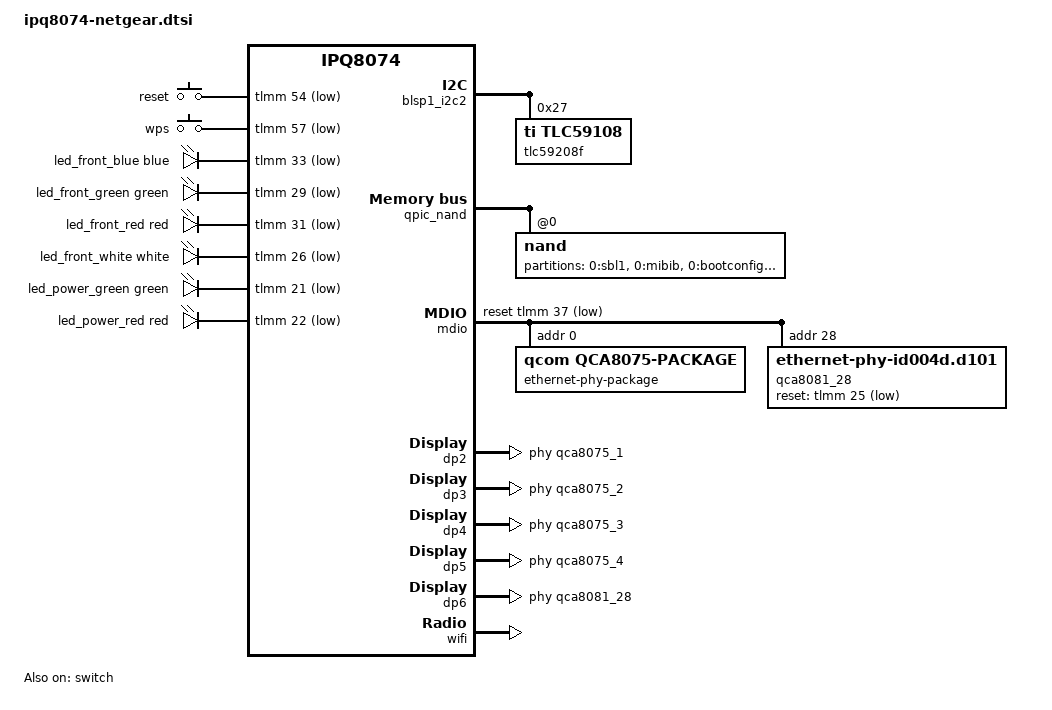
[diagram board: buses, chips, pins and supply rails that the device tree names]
// SPDX-License-Identifier: GPL-2.0-or-later OR MIT

#include "ipq8074.dtsi"
#include "ipq8074-ess.dtsi"
#include "ipq8074-nss.dtsi"
#include "ipq8074-common.dtsi"
#include "ipq8074-hk-cpu.dtsi"

#include <dt-bindings/gpio/gpio.h>
#include <dt-bindings/input/input.h>
#include <dt-bindings/leds/common.h>

/ {
	aliases {
		serial0 = &blsp1_uart5;

		led-boot = &led_front_blue;
		led-failsafe = &led_front_red;
		led-running = &led_front_green;
		led-upgrade = &led_front_white;

		label-mac-device = &dp2;
	};

	chosen {
		stdout-path = "serial0:115200n8";
		bootargs-append = " ubi.mtd=rootfs root=/dev/ubiblock0_0";
	};

	keys {
		compatible = "gpio-keys";

		reset {
			label = "reset";
			gpios = <&tlmm 54 GPIO_ACTIVE_LOW>;
			linux,code = <KEY_RESTART>;
		};

		wps {
			label = "wps";
			gpios = <&tlmm 57 GPIO_ACTIVE_LOW>;
			linux,code = <KEY_WPS_BUTTON>;
		};
	};

	leds {
		compatible = "gpio-leds";

		led_front_blue: front-blue {
			function = LED_FUNCTION_STATUS;
			gpios = <&tlmm 33 GPIO_ACTIVE_LOW>;
			color = <LED_COLOR_ID_BLUE>;
		};

		led_front_green: front-green {
			function = LED_FUNCTION_STATUS;
			gpios = <&tlmm 29 GPIO_ACTIVE_LOW>;
			color = <LED_COLOR_ID_GREEN>;
		};

		led_front_red: front-red {
			function = LED_FUNCTION_STATUS;
			gpios = <&tlmm 31 GPIO_ACTIVE_LOW>;
			color = <LED_COLOR_ID_RED>;
		};

		led_front_white: front-white {
			function = LED_FUNCTION_STATUS;
			gpios = <&tlmm 26 GPIO_ACTIVE_LOW>;
			color = <LED_COLOR_ID_WHITE>;
		};

		led_power_green: power-green {
			function = LED_FUNCTION_POWER;
			gpios = <&tlmm 21 GPIO_ACTIVE_LOW>;
			color = <LED_COLOR_ID_GREEN>;
			default-state = "on";
		};

		led_power_red: power-red {
			function = LED_FUNCTION_POWER;
			gpios = <&tlmm 22 GPIO_ACTIVE_LOW>;
			color = <LED_COLOR_ID_RED>;
			panic-indicator;
		};
	};
};

&blsp1_i2c2 {
	status = "okay";

	tlc59208f@27 {
		#address-cells = <1>;
		#size-cells = <0>;
		compatible = "ti,tlc59108";
		reg = <0x27>;

		led@0 {
			label = "rgb:led0";
			reg = <0>;
			linux,default-trigger = "default-off";
		};

		led@1 {
			label = "rgb:led1";
			reg = <1>;
			linux,default-trigger = "default-off";
		};

		led@2 {
			label = "rgb:led2";
			reg = <2>;
			linux,default-trigger = "default-off";
		};

		led@3 {
			label = "rgb:led3";
			reg = <3>;
			linux,default-trigger = "default-off";
		};
	};
};

&qpic_nand {
	status = "okay";

	partitions {
		status = "disabled";
	};

	nand@0 {
		reg = <0>;

		nand-ecc-strength = <4>;
		nand-ecc-step-size = <512>;
		nand-bus-width = <8>;

		partitions {
			compatible = "fixed-partitions";
			#address-cells = <1>;
			#size-cells = <1>;

			partition@0 {
				label = "0:sbl1";
				reg = <0x00000000 0x00100000>;
				read-only;
			};

			partition@100000 {
				label = "0:mibib";
				reg = <0x00100000 0x00100000>;
				read-only;
			};

			partition@200000 {
				label = "0:bootconfig";
				reg = <0x00200000 0x00080000>;
				read-only;
			};

			partition@280000 {
				label = "0:bootconfig_1";
				reg = <0x00280000 0x00080000>;
				read-only;
			};

			partition@300000 {
				label = "0:qsee";
				reg = <0x00300000 0x00300000>;
				read-only;
			};

			partition@600000 {
				label = "0:qsee_1";
				reg = <0x00600000 0x00300000>;
				read-only;
			};

			partition@900000 {
				label = "0:devcfg";
				reg = <0x00900000 0x00080000>;
				read-only;
			};

			partition@980000 {
				label = "0:devcfg_1";
				reg = <0x00980000 0x00080000>;
				read-only;
			};

			partition@a00000 {
				label = "0:apdp";
				reg = <0x00a00000 0x00080000>;
				read-only;
			};

			partition@a80000 {
				label = "0:apdp_1";
				reg = <0x00a80000 0x00080000>;
				read-only;
			};

			partition@b00000 {
				label = "0:rpm";
				reg = <0x00b00000 0x00080000>;
				read-only;
			};

			partition@b80000 {
				label = "0:rpm_1";
				reg = <0x00b80000 0x00080000>;
				read-only;
			};

			partition@c00000 {
				label = "0:cdt";
				reg = <0x00c00000 0x00080000>;
				read-only;
			};

			partition@c80000 {
				label = "0:cdt_1";
				reg = <0x00c80000 0x00080000>;
				read-only;
			};

			partition@d00000 {
				label = "0:appsblenv";
				reg = <0x00d00000 0x00080000>;
			};

			partition@d80000 {
				label = "0:appsbl";
				reg = <0x00d80000 0x00100000>;
				read-only;
			};

			partition@e80000 {
				label = "0:appsbl_1";
				reg = <0x00e80000 0x00100000>;
				read-only;
			};

			partition@f80000 {
				label = "0:art";
				reg = <0x00f80000 0x00080000>;
				read-only;
			};

			partition@1000000 {
				label = "0:art.bak";
				reg = <0x01000000 0x00080000>;
				read-only;
			};

			partition@1080000 {
				label = "config";
				reg = <0x01080000 0x00100000>;
			};

			partition@1180000 {
				label = "boarddata1";
				reg = <0x01180000 0x00100000>;

				nvmem-layout {
					compatible = "fixed-layout";
					#address-cells = <1>;
					#size-cells = <1>;

					macaddr_boarddata1_0: macaddr@0 {
						reg = <0x00 0x06>;
					};

					macaddr_boarddata1_6: macaddr@6 {
						reg = <0x06 0x06>;
					};
				};
			};

			partition@1280000 {
				label = "boarddata2";
				reg = <0x01280000 0x00100000>;
			};

			partition@1380000 {
				label = "pot";
				reg = <0x01380000 0x00100000>;
				read-only;
			};

			partition@1480000 {
				label = "dnidata";
				reg = <0x01480000 0x00500000>;
				read-only;
			};

			partition@1980000 {
				label = "kernel";
				reg = <0x01980000 0x00620000>;
			};

			partition@1fa0000 {
				label = "rootfs";
				reg = <0x01fa0000 0x066e0000>;
			};

			partition@8680000 {
				label = "kernel2";
				reg = <0x08680000 0x00620000>;
				read-only;
			};

			partition@8ca0000 {
				label = "rootfs2";
				reg = <0x08ca0000 0x066e0000>;
				read-only;
			};
		};
	};
};

&mdio {
	status = "okay";

	pinctrl-0 = <&mdio_pins>;
	pinctrl-names = "default";
	reset-gpios = <&tlmm 37 GPIO_ACTIVE_LOW>;

	ethernet-phy-package@0 {
		compatible = "qcom,qca8075-package";
		#address-cells = <1>;
		#size-cells = <0>;
		reg = <0>;

		qca8075_1: ethernet-phy@1 {
			compatible = "ethernet-phy-ieee802.3-c22";
			reg = <1>;
		};

		qca8075_2: ethernet-phy@2 {
			compatible = "ethernet-phy-ieee802.3-c22";
			reg = <2>;
		};

		qca8075_3: ethernet-phy@3 {
			compatible = "ethernet-phy-ieee802.3-c22";
			reg = <3>;
		};

		qca8075_4: ethernet-phy@4 {
			compatible = "ethernet-phy-ieee802.3-c22";
			reg = <4>;
		};
	};

	qca8081_28: ethernet-phy@28 {
		compatible = "ethernet-phy-id004d.d101";
		reg = <28>;
		reset-deassert-us = <10000>;
		reset-gpios = <&tlmm 25 GPIO_ACTIVE_LOW>;
	};
};

&switch {
	status = "okay";

	switch_lan_bmp = <(ESS_PORT2 | ESS_PORT3 | ESS_PORT4 | ESS_PORT5)>;
	switch_wan_bmp = <ESS_PORT6>;
	switch_mac_mode = <MAC_MODE_PSGMII>;
	switch_mac_mode2 = <MAC_MODE_SGMII_PLUS>;

	qcom,port_phyinfo {
		port@2 {
			port_id = <2>;
			phy_address = <1>;
		};

		port@3 {
			port_id = <3>;
			phy_address = <2>;
		};

		port@4 {
			port_id = <4>;
			phy_address = <3>;
		};

		port@5 {
			port_id = <5>;
			phy_address = <4>;
		};

		port@6 {
			port_id = <6>;
			phy_address = <28>;
			port_mac_sel = "QGMAC_PORT";
		};
	};
};

&edma {
	status = "okay";
};

&dp2 {
	status = "okay";
	phy-handle = <&qca8075_1>;
	label = "lan2";
	nvmem-cells = <&macaddr_boarddata1_0>;
	nvmem-cell-names = "mac-address";
};

&dp3 {
	status = "okay";
	phy-handle = <&qca8075_2>;
	label = "lan3";
	nvmem-cells = <&macaddr_boarddata1_0>;
	nvmem-cell-names = "mac-address";
};

&dp4 {
	status = "okay";
	phy-handle = <&qca8075_3>;
	label = "lan4";
	nvmem-cells = <&macaddr_boarddata1_0>;
	nvmem-cell-names = "mac-address";
};

&dp5 {
	status = "okay";
	phy-handle = <&qca8075_4>;
	label = "lan5";
	nvmem-cells = <&macaddr_boarddata1_0>;
	nvmem-cell-names = "mac-address";
};

&dp6 {
	status = "okay";
	phy-handle = <&qca8081_28>;
	label = "wan";
	nvmem-cells = <&macaddr_boarddata1_6>;
	nvmem-cell-names = "mac-address";
};

&wifi {
	status = "okay";
	qcom,ath11k-fw-memory-mode = <1>;
	qcom,ath11k-calibration-variant = "Netgear-SXK80";
};
